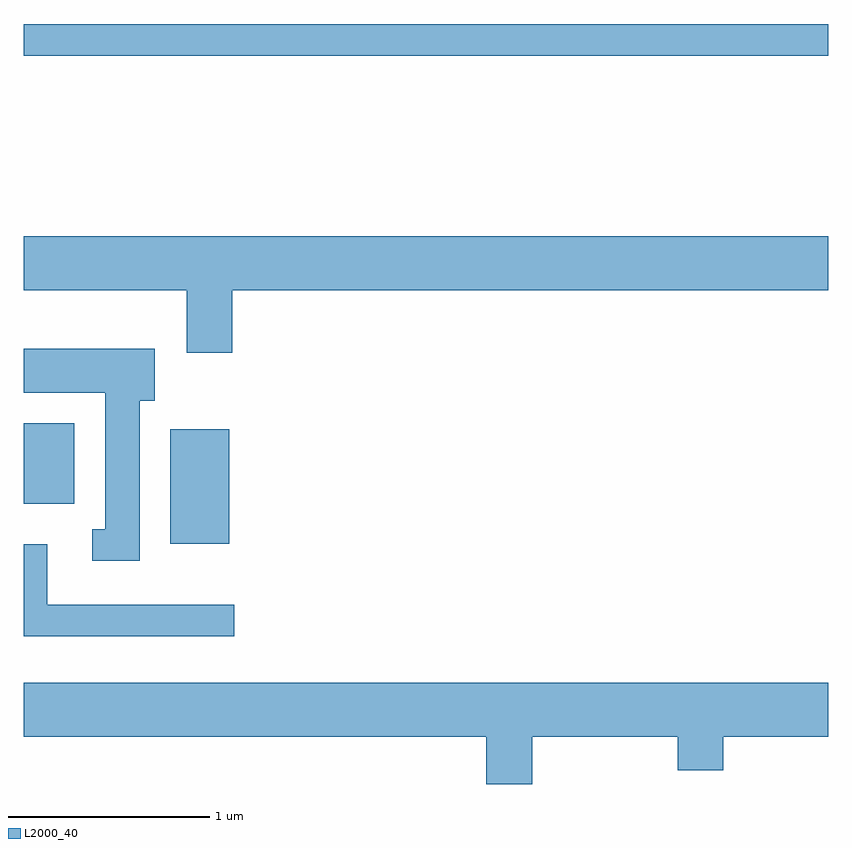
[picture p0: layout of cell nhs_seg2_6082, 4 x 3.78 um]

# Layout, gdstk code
import gdstk
lib = gdstk.Library(unit=1e-6, precision=1e-09)
def R(c, l, rs):  # rectangles x0, y0, x1, y1
    for r in rs: c.add(gdstk.rectangle(r[:2], r[2:], *l))
def P(c, l, *ps):  # polygons
    for p in ps: c.add(gdstk.Polygon(p, *l))
L2000_40 = (2000, 40)

nhs_seg2_6082 = lib.new_cell('nhs_seg2_6082')
R(nhs_seg2_6082, L2000_40, [(364.341,1106.996,364.634,1107.564), (363.611,1107.196,363.864,1107.594), (363.611,1109.421,367.611,1109.579)])
P(nhs_seg2_6082, L2000_40, [(364.649,1108.256),(367.611,1108.256),(367.611,1108.524),(363.611,1108.524),(363.611,1108.256),(364.421,1108.256),(364.421,1107.946),(364.649,1107.946)],
  [(364.189,1107.706),(364.264,1107.706),(364.264,1107.964),(363.611,1107.964),(363.611,1107.746),(364.016,1107.746),(364.016,1107.069),(363.953,1107.069),(363.953,1106.911),(364.189,1106.911)],
  [(364.658,1106.694),(363.729,1106.694),(363.729,1106.994),(363.611,1106.994),(363.611,1106.536),(364.658,1106.536)],
  [(366.139,1106.036),(366.861,1106.036),(366.861,1105.871),(367.089,1105.871),(367.089,1106.036),(367.611,1106.036),(367.611,1106.304),(363.611,1106.304),(363.611,1106.036),(365.911,1106.036),(365.911,1105.802),(366.139,1105.802)])

lib.write_gds('nhs_seg2_6082.gds')
